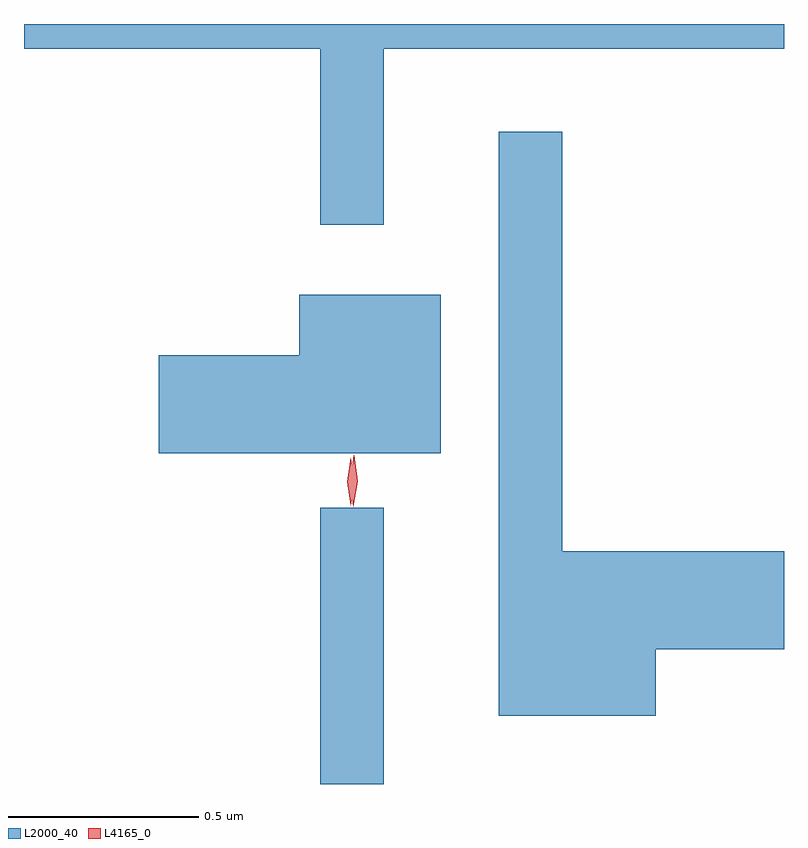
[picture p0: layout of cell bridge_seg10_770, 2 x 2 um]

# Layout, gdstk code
import gdstk
lib = gdstk.Library(unit=1e-6, precision=1e-09)
def R(c, l, rs):  # rectangles x0, y0, x1, y1
    for r in rs: c.add(gdstk.rectangle(r[:2], r[2:], *l))
def P(c, l, *ps):  # polygons
    for p in ps: c.add(gdstk.Polygon(p, *l))
L2000_40 = (2000, 40)
L4165_0 = (4165, 0)

bridge_seg10_770 = lib.new_cell('bridge_seg10_770')
R(bridge_seg10_770, L2000_40, [(577.951,2123.081,578.119,2123.808)])
P(bridge_seg10_770, L2000_40, [(578.119,2125.016),(579.172,2125.016),(579.172,2125.081),(577.172,2125.081),(577.172,2125.016),(577.951,2125.016),(577.951,2124.553),(578.119,2124.553)],
  [(578.834,2123.436),(579.172,2123.436),(579.172,2123.694),(578.589,2123.694),(578.589,2124.798),(578.421,2124.798),(578.421,2123.261),(578.834,2123.261)],
  [(578.269,2124.369),(577.896,2124.369),(577.896,2124.209),(577.526,2124.209),(577.526,2123.951),(578.269,2123.951)])
P(bridge_seg10_770, L4165_0, [(578.038,2123.81),(578.03,2123.878),(578.04,2123.946),(578.041,2123.946),(578.041,2123.946),(578.05,2123.878),(578.039,2123.81),(578.039,2123.81)],
  [(578.032,2123.813),(578.032,2123.814),(578.022,2123.876),(578.032,2123.939),(578.032,2123.94),(578.032,2123.939),(578.042,2123.876),(578.032,2123.814)])

lib.write_gds('bridge_seg10_770.gds')
